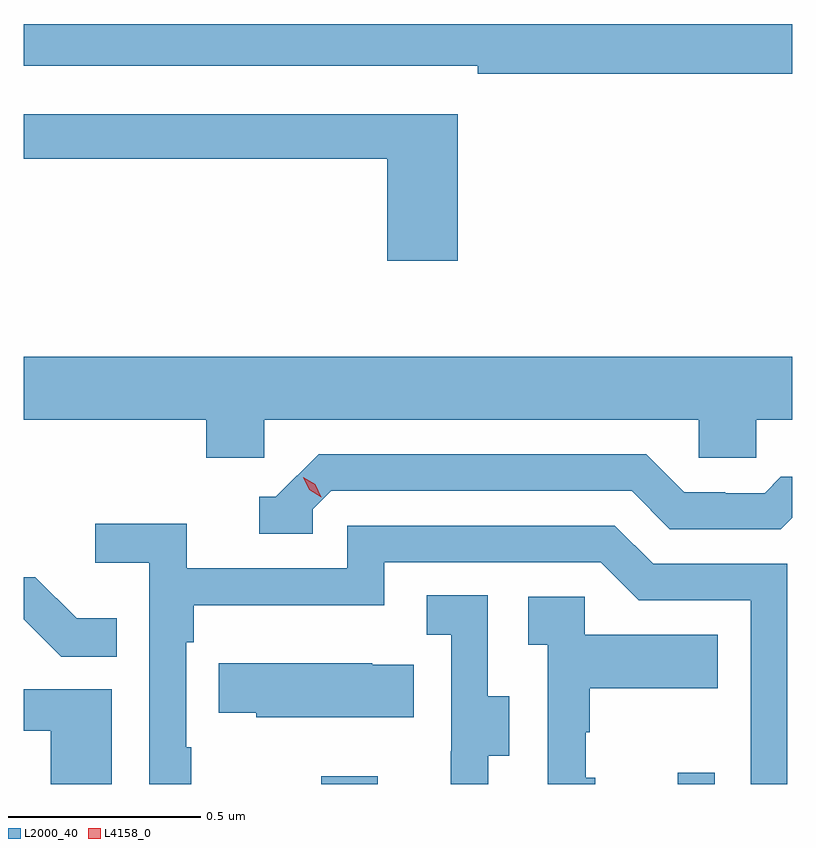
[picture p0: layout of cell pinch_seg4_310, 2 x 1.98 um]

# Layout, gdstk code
import gdstk
lib = gdstk.Library(unit=1e-6, precision=1e-09)
def R(c, l, rs):  # rectangles x0, y0, x1, y1
    for r in rs: c.add(gdstk.rectangle(r[:2], r[2:], *l))
def P(c, l, *ps):  # polygons
    for p in ps: c.add(gdstk.Polygon(p, *l))
L2000_40 = (2000, 40)
L4158_0 = (4158, 0)

pinch_seg4_310 = lib.new_cell('pinch_seg4_310')
R(pinch_seg4_310, L2000_40, [(947.488,795.872,947.635,795.892), (948.416,795.872,948.513,795.901)])
P(pinch_seg4_310, L2000_40, [(948.714,797.851),(946.714,797.851),(946.714,797.742),(947.896,797.742),(947.896,797.722),(948.714,797.722)],
  [(947.843,797.616),(946.714,797.616),(946.714,797.5),(947.66,797.5),(947.66,797.235),(947.843,797.235)],
  [(947.34,796.82),(948.471,796.82),(948.471,796.722),(948.621,796.722),(948.621,796.82),(948.714,796.82),(948.714,796.984),(946.714,796.984),(946.714,796.82),(947.189,796.82),(947.189,796.722),(947.34,796.722)],
  [(947.466,796.587),(947.514,796.635),(948.297,796.635),(948.396,796.536),(948.685,796.536),(948.714,796.565),(948.714,796.672),(948.685,796.672),(948.643,796.629),(948.54,796.629),(948.54,796.632),(948.433,796.632),(948.334,796.731),(947.481,796.731),(947.37,796.62),(947.327,796.62),(947.327,796.524),(947.466,796.524)],
  [(947.149,795.968),(947.136,795.968),(947.136,796.241),(947.156,796.241),(947.156,796.337),(947.652,796.337),(947.652,796.449),(948.216,796.449),(948.315,796.35),(948.606,796.35),(948.606,795.872),(948.702,795.872),(948.702,796.446),(948.352,796.446),(948.253,796.545),(947.556,796.545),(947.556,796.434),(947.138,796.434),(947.138,796.55),(946.899,796.55),(946.899,796.448),(947.04,796.448),(947.04,795.872),(947.149,795.872)],
  [(946.955,796.303),(946.851,796.303),(946.744,796.41),(946.714,796.41),(946.714,796.301),(946.811,796.204),(946.955,796.204)],
  [(947.923,795.946),(947.977,795.946),(947.977,796.101),(947.922,796.101),(947.922,796.364),(947.763,796.364),(947.763,796.261),(947.826,796.261),(947.826,795.957),(947.825,795.957),(947.825,795.872),(947.923,795.872)],
  [(948.202,795.888),(948.177,795.888),(948.177,796.007),(948.187,796.007),(948.187,796.121),(948.521,796.121),(948.521,796.261),(948.174,796.261),(948.174,796.359),(948.027,796.359),(948.027,796.235),(948.078,796.235),(948.078,795.872),(948.202,795.872)],
  [(947.729,796.183),(947.621,796.183),(947.621,796.186),(947.221,796.186),(947.221,796.057),(947.319,796.057),(947.319,796.046),(947.729,796.046)],
  [(946.942,796.119),(946.714,796.119),(946.714,796.011),(946.784,796.011),(946.784,795.872),(946.942,795.872)])
P(pinch_seg4_310, L4158_0, [(947.488,796.619),(947.457,796.638),(947.441,796.671),(947.441,796.671),(947.441,796.671),(947.472,796.652),(947.488,796.619),(947.488,796.619)])

lib.write_gds('pinch_seg4_310.gds')
